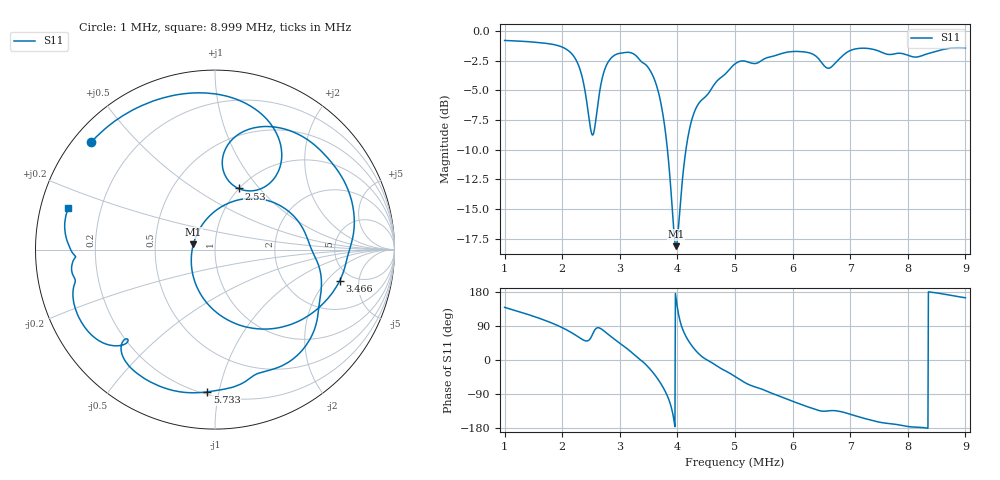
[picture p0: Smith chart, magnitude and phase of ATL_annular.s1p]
# Hz S RI R 50
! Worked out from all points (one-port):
!   1010 points, 1 MHz to 8.999 MHz, reference 50 ohm
!   lowest |S11| = -18.1 dB at 3.973 MHz (marker M1), VSWR 1.28, Z = 39.2 + j2.29 ohm
!   |S11| at or under -10 dB: 3.827 MHz to 4.148 MHz (320.5 kHz wide, 8.04 % of centre)
!   S11 on the Smith chart (normalised r, x): 1 MHz: 0.05, +0.37; 2.53 MHz: 1.00, +0.78; 3.466 MHz: 3.92, -2.82; 5.733 MHz: 0.22, -0.92; 8.999 MHz: 0.08, +0.14
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1000000  -0.6883 0.6003
1594600  -0.3135 0.8381
2006828  0.0765 0.8517
2331828  0.3711 0.5471
2530028  0.1312 0.3405
2633156  0.0446 0.5208
2759956  0.2153 0.6781
3005756  0.5852 0.5553
3243556  0.7731 0.2077
3465584  0.6939 -0.1754
3616184  0.4624 -0.4007
3719284  0.2138 -0.4387
3861984  -0.0837 -0.2422
3972984  -0.1208 0.0288
4004684  -0.0941 0.0995
4171184  0.1932 0.2856
4393112  0.4905 0.1156
4694412  0.593 -0.1765
5003640  0.5254 -0.5053
5193840  0.3555 -0.655
5732940  -0.0429 -0.7924
6002568  -0.2676 -0.7756
6351368  -0.4954 -0.6274
6549568  -0.5065 -0.5032
7001496  -0.6636 -0.4961
7358196  -0.7846 -0.3058
8000424  -0.7894 -0.0606
8999352  -0.8174 0.232
